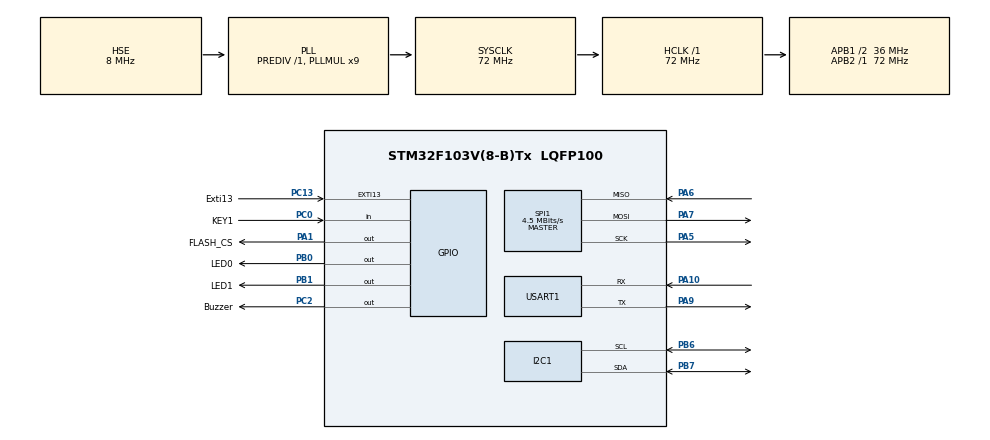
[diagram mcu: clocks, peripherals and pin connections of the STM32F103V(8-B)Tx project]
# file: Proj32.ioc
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Mcu.Family=STM32F1
Mcu.Name=STM32F103V(8-B)Tx
Mcu.Package=LQFP100
NVIC.EXTI15_10_IRQn=true\:0\:0\:false\:false\:true\:true\:true
NVIC.PriorityGroup=NVIC_PRIORITYGROUP_4
NVIC.USART1_IRQn=true\:0\:0\:false\:false\:true\:true\:true
OSC_IN.Mode=HSE-External-Oscillator
OSC_IN.Signal=RCC_OSC_IN
OSC_OUT.Mode=HSE-External-Oscillator
OSC_OUT.Signal=RCC_OSC_OUT
PA1.GPIO_Label=FLASH_CS
PA1.GPIO_ModeDefaultOutputPP=GPIO_MODE_OUTPUT_PP
PA1.GPIO_PuPd=GPIO_PULLUP
PA1.GPIO_Speed=GPIO_SPEED_FREQ_HIGH
PA1.PinState=GPIO_PIN_SET
PA1.Signal=GPIO_Output
PA10.Mode=Asynchronous
PA10.Signal=USART1_RX
PA13.Mode=Serial_Wire
PA13.Signal=SYS_JTMS-SWDIO
PA14.Mode=Serial_Wire
PA14.Signal=SYS_JTCK-SWCLK
PA5.Mode=Full_Duplex_Master
PA5.Signal=SPI1_SCK
PA6.Mode=Full_Duplex_Master
PA6.Signal=SPI1_MISO
PA7.Mode=Full_Duplex_Master
PA7.Signal=SPI1_MOSI
PA9.Mode=Asynchronous
PA9.Signal=USART1_TX
PB0.GPIO_Label=LED0
PB0.GPIO_ModeDefaultOutputPP=GPIO_MODE_OUTPUT_PP
PB0.GPIO_PuPd=GPIO_PULLUP
PB0.GPIO_Speed=GPIO_SPEED_FREQ_HIGH
PB0.PinState=GPIO_PIN_SET
PB0.Signal=GPIO_Output
PB1.GPIO_Label=LED1
PB1.GPIO_PuPd=GPIO_PULLDOWN
PB1.GPIO_Speed=GPIO_SPEED_FREQ_HIGH
PB1.PinState=GPIO_PIN_SET
PB1.Signal=GPIO_Output
PB6.Mode=I2C
PB6.Signal=I2C1_SCL
PB7.Mode=I2C
PB7.Signal=I2C1_SDA
PC0.GPIO_Label=KEY1
PC0.GPIO_PuPd=GPIO_PULLDOWN
PC0.Signal=GPIO_Input
PC13-TAMPER-RTC.GPIO_Label=Exti13
PC13-TAMPER-RTC.GPIO_ModeDefaultEXTI=GPIO_MODE_IT_RISING
PC13-TAMPER-RTC.GPIO_PuPd=GPIO_PULLDOWN
PC13-TAMPER-RTC.Signal=GPXTI13
PC2.GPIO_Label=Buzzer
PC2.GPIO_PuPd=GPIO_PULLDOWN
PC2.GPIO_Speed=GPIO_SPEED_FREQ_HIGH
PC2.PinState=GPIO_PIN_SET
PC2.Signal=GPIO_Output
ProjectManager.HeapSize=0x200
ProjectManager.StackSize=0x400
ProjectManager.TargetToolchain=STM32CubeIDE
RCC.AHBFreq_Value=72000000
RCC.APB1CLKDivider=RCC_HCLK_DIV2
RCC.APB1Freq_Value=36000000
RCC.APB1TimFreq_Value=72000000
RCC.APB2Freq_Value=72000000
RCC.APB2TimFreq_Value=72000000
RCC.HCLKFreq_Value=72000000
RCC.PLLMUL=RCC_PLL_MUL9
RCC.PLLSourceVirtual=RCC_PLLSOURCE_HSE
RCC.SYSCLKFreq_VALUE=72000000
RCC.SYSCLKSource=RCC_SYSCLKSOURCE_PLLCLK
RCC.USBFreq_Value=72000000
SPI1.BaudRatePrescaler=SPI_BAUDRATEPRESCALER_16
SPI1.CalculateBaudRate=4.5 MBits/s
SPI1.Direction=SPI_DIRECTION_2LINES
SPI1.Mode=SPI_MODE_MASTER
SPI1.VirtualType=VM_MASTER
USART1.VirtualMode=VM_ASYNC
board=custom

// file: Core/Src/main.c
/* USER CODE BEGIN Header */
/**
  ******************************************************************************
  * @file           : main.c
  * @brief          : Main program body
  ******************************************************************************
  * @attention
  *
  * Copyright (c) 2021 STMicroelectronics.
  * All rights reserved.
  *
  * This software is licensed under terms that can be found in the LICENSE file
  * in the root directory of this software component.
  * If no LICENSE file comes with this software, it is provided AS-IS.
  *
  ******************************************************************************
  */
/* USER CODE END Header */
#include "main.h"

/* USER CODE BEGIN Includes */
#include "stdio.h"
#include "bsp_spi_flash.h"
/* USER CODE END Includes */

/* USER CODE BEGIN PTD */
uint8_t rx_buff[100];  //接收缓存
uint8_t rx_done = 0; //接收完成标志
uint8_t rx_cnt = 0;//接收数据长度
//IIC全局变量
#define ADDR_WR_AT24CXX 0xA0 //写器件地址
#define ADDR_RD_AT24CXX 0xA1 //读器件地址
#define BuffSize 256
uint8_t Wr_buff[BuffSize],Rd_buff[BuffSize];//读写数据buff
/* USER CODE END PTD */

/* USER CODE BEGIN PD */
void EEPROM_IIC_Test(void);
void SPI_FLASH_Test(void);
/* USER CODE END PD */

I2C_HandleTypeDef hi2c1;

extern SPI_HandleTypeDef hspi1;

UART_HandleTypeDef huart1;

void SystemClock_Config(void);
static void MX_GPIO_Init(void);
static void MX_USART1_UART_Init(void);
static void MX_I2C1_Init(void);
static void MX_SPI1_Init(void);

int main(void)
{

  /* MCU Configuration--------------------------------------------------------*/

  /* Reset of all peripherals, Initializes the Flash interface and the Systick. */
  HAL_Init();

  /* Configure the system clock */
  SystemClock_Config();

  /* Initialize all configured peripherals */
  MX_GPIO_Init();
  MX_USART1_UART_Init();
  MX_I2C1_Init();
  MX_SPI1_Init();
  /* USER CODE BEGIN 2 */
  //EEPROM测试
  //EEPROM_IIC_Test();
  SPI_FLASH_Test();
  /* USER CODE END 2 */

  /* Infinite loop */
  /* USER CODE BEGIN WHILE */
  while (1)
  {
      if(rx_done == 1)//判读是否接收完成
      {
          rx_done = 0;//清除接收标志
          //数据处理，打印接收长度、接收的数据
          printf("length of rx data: %d!\r\n",rx_cnt);
          for(int i = 0;i<rx_cnt;i++) printf("%c",rx_buff[i]);
          printf("\r\n");

          rx_cnt =0;//清除接收长度
      }
    /* USER CODE END WHILE */

  }
}

void SystemClock_Config(void)
{
  RCC_OscInitTypeDef RCC_OscInitStruct = {0};
  RCC_ClkInitTypeDef RCC_ClkInitStruct = {0};

  /** Initializes the RCC Oscillators according to the specified parameters
  * in the RCC_OscInitTypeDef structure.
  */
  RCC_OscInitStruct.OscillatorType = RCC_OSCILLATORTYPE_HSE;
  RCC_OscInitStruct.HSEState = RCC_HSE_ON;
  RCC_OscInitStruct.HSEPredivValue = RCC_HSE_PREDIV_DIV1;
  RCC_OscInitStruct.HSIState = RCC_HSI_ON;
  RCC_OscInitStruct.PLL.PLLState = RCC_PLL_ON;
  RCC_OscInitStruct.PLL.PLLSource = RCC_PLLSOURCE_HSE;
  RCC_OscInitStruct.PLL.PLLMUL = RCC_PLL_MUL9;
  if (HAL_RCC_OscConfig(&RCC_OscInitStruct) != HAL_OK)
  {
    Error_Handler();
  }
  /** Initializes the CPU, AHB and APB buses clocks
  */
  RCC_ClkInitStruct.ClockType = RCC_CLOCKTYPE_HCLK|RCC_CLOCKTYPE_SYSCLK
                              |RCC_CLOCKTYPE_PCLK1|RCC_CLOCKTYPE_PCLK2;
  RCC_ClkInitStruct.SYSCLKSource = RCC_SYSCLKSOURCE_PLLCLK;
  RCC_ClkInitStruct.AHBCLKDivider = RCC_SYSCLK_DIV1;
  RCC_ClkInitStruct.APB1CLKDivider = RCC_HCLK_DIV2;
  RCC_ClkInitStruct.APB2CLKDivider = RCC_HCLK_DIV1;

  if (HAL_RCC_ClockConfig(&RCC_ClkInitStruct, FLASH_LATENCY_2) != HAL_OK)
  {
    Error_Handler();
  }
}

static void MX_I2C1_Init(void)
{

  hi2c1.Instance = I2C1;
  hi2c1.Init.ClockSpeed = 100000;
  hi2c1.Init.DutyCycle = I2C_DUTYCYCLE_2;
  hi2c1.Init.OwnAddress1 = 0;
  hi2c1.Init.AddressingMode = I2C_ADDRESSINGMODE_7BIT;
  hi2c1.Init.DualAddressMode = I2C_DUALADDRESS_DISABLE;
  hi2c1.Init.OwnAddress2 = 0;
  hi2c1.Init.GeneralCallMode = I2C_GENERALCALL_DISABLE;
  hi2c1.Init.NoStretchMode = I2C_NOSTRETCH_DISABLE;
  if (HAL_I2C_Init(&hi2c1) != HAL_OK)
  {
    Error_Handler();
  }

}

static void MX_SPI1_Init(void)
{

  /* SPI1 parameter configuration*/
  hspi1.Instance = SPI1;
  hspi1.Init.Mode = SPI_MODE_MASTER;
  hspi1.Init.Direction = SPI_DIRECTION_2LINES;
  hspi1.Init.DataSize = SPI_DATASIZE_8BIT;
  hspi1.Init.CLKPolarity = SPI_POLARITY_LOW;
  hspi1.Init.CLKPhase = SPI_PHASE_1EDGE;
  hspi1.Init.NSS = SPI_NSS_SOFT;
  hspi1.Init.BaudRatePrescaler = SPI_BAUDRATEPRESCALER_16;
  hspi1.Init.FirstBit = SPI_FIRSTBIT_MSB;
  hspi1.Init.TIMode = SPI_TIMODE_DISABLE;
  hspi1.Init.CRCCalculation = SPI_CRCCALCULATION_DISABLE;
  hspi1.Init.CRCPolynomial = 10;
  if (HAL_SPI_Init(&hspi1) != HAL_OK)
  {
    Error_Handler();
  }

}

static void MX_USART1_UART_Init(void)
{

  huart1.Instance = USART1;
  huart1.Init.BaudRate = 115200;
  huart1.Init.WordLength = UART_WORDLENGTH_8B;
  huart1.Init.StopBits = UART_STOPBITS_1;
  huart1.Init.Parity = UART_PARITY_NONE;
  huart1.Init.Mode = UART_MODE_TX_RX;
  huart1.Init.HwFlowCtl = UART_HWCONTROL_NONE;
  huart1.Init.OverSampling = UART_OVERSAMPLING_16;
  if (HAL_UART_Init(&huart1) != HAL_OK)
  {
    Error_Handler();
  }
  /* USER CODE BEGIN USART1_Init 2 */
  //开启接收中断，空闲中断
  __HAL_UART_ENABLE_IT(&huart1,UART_IT_IDLE|UART_IT_RXNE);
  /* USER CODE END USART1_Init 2 */

}

static void MX_GPIO_Init(void)
{
  GPIO_InitTypeDef GPIO_InitStruct = {0};

  /* GPIO Ports Clock Enable */
  __HAL_RCC_GPIOC_CLK_ENABLE();
  __HAL_RCC_GPIOA_CLK_ENABLE();
  __HAL_RCC_GPIOB_CLK_ENABLE();

  /*Configure GPIO pin Output Level */
  HAL_GPIO_WritePin(Buzzer_GPIO_Port, Buzzer_Pin, GPIO_PIN_SET);

  /*Configure GPIO pin Output Level */
  HAL_GPIO_WritePin(FLASH_CS_GPIO_Port, FLASH_CS_Pin, GPIO_PIN_SET);

  /*Configure GPIO pin Output Level */
  HAL_GPIO_WritePin(GPIOB, LED0_Pin|LED1_Pin, GPIO_PIN_SET);

  /*Configure GPIO pin : Exti13_Pin */
  GPIO_InitStruct.Pin = Exti13_Pin;
  GPIO_InitStruct.Mode = GPIO_MODE_IT_RISING;
  GPIO_InitStruct.Pull = GPIO_PULLDOWN;
  HAL_GPIO_Init(Exti13_GPIO_Port, &GPIO_InitStruct);

  /*Configure GPIO pin : KEY1_Pin */
  GPIO_InitStruct.Pin = KEY1_Pin;
  GPIO_InitStruct.Mode = GPIO_MODE_INPUT;
  GPIO_InitStruct.Pull = GPIO_PULLDOWN;
  HAL_GPIO_Init(KEY1_GPIO_Port, &GPIO_InitStruct);

  /*Configure GPIO pin : Buzzer_Pin */
  GPIO_InitStruct.Pin = Buzzer_Pin;
  GPIO_InitStruct.Mode = GPIO_MODE_OUTPUT_PP;
  GPIO_InitStruct.Pull = GPIO_PULLDOWN;
  GPIO_InitStruct.Speed = GPIO_SPEED_FREQ_HIGH;
  HAL_GPIO_Init(Buzzer_GPIO_Port, &GPIO_InitStruct);

  /*Configure GPIO pin : FLASH_CS_Pin */
  GPIO_InitStruct.Pin = FLASH_CS_Pin;
  GPIO_InitStruct.Mode = GPIO_MODE_OUTPUT_PP;
  GPIO_InitStruct.Pull = GPIO_PULLUP;
  GPIO_InitStruct.Speed = GPIO_SPEED_FREQ_HIGH;
  HAL_GPIO_Init(FLASH_CS_GPIO_Port, &GPIO_InitStruct);

  /*Configure GPIO pin : LED0_Pin */
  GPIO_InitStruct.Pin = LED0_Pin;
  GPIO_InitStruct.Mode = GPIO_MODE_OUTPUT_PP;
  GPIO_InitStruct.Pull = GPIO_PULLUP;
  GPIO_InitStruct.Speed = GPIO_SPEED_FREQ_HIGH;
  HAL_GPIO_Init(LED0_GPIO_Port, &GPIO_InitStruct);

  /*Configure GPIO pin : LED1_Pin */
  GPIO_InitStruct.Pin = LED1_Pin;
  GPIO_InitStruct.Mode = GPIO_MODE_OUTPUT_PP;
  GPIO_InitStruct.Pull = GPIO_PULLDOWN;
  GPIO_InitStruct.Speed = GPIO_SPEED_FREQ_HIGH;
  HAL_GPIO_Init(LED1_GPIO_Port, &GPIO_InitStruct);

  /* EXTI interrupt init*/
  HAL_NVIC_SetPriority(EXTI15_10_IRQn, 0, 0);
  HAL_NVIC_EnableIRQ(EXTI15_10_IRQn);

}

/* USER CODE BEGIN 4 */
//SPI FLASH测试
#define  FLASHBUFFSIZE 64
void SPI_FLASH_Test(void)
{
    uint16_t FLASH_ID;
    uint8_t Flash_Wr_Buff[FLASHBUFFSIZE],Flash_Rd_Buff[FLASHBUFFSIZE];
    printf("SPI总线通信实验，读写8M外部FLASH W25Q64!\r\n",FLASH_ID);
    FLASH_ID = W25QXX_ReadID();//读取W25Q64器件ID
    HAL_Delay(100);
    printf("the FLASH Device ID is 0x%X!\r\n",FLASH_ID);
    //W25Q64 = 8MByte,地址范围：0x000000-0x7FFFFF
    //Sector：每4KB为一个Sector,8M/4K=2048个
    //Block：每64KB为一个Block,8M/64K=128个，每个Block包括16个Sector
    SPI_FLASH_SectorErase(0x00);//擦除第一个Sector
    for (int i = 0; i < FLASHBUFFSIZE; ++i) Flash_Wr_Buff[i] = i;
    SPI_FLASH_BufferWrite(Flash_Wr_Buff,0x00,FLASHBUFFSIZE);
    SPI_FLASH_BufferRead(Flash_Rd_Buff,0x00,FLASHBUFFSIZE);
    printf("Read data form W25Q64: \r\n");
    for(uint16_t i=0;i<FLASHBUFFSIZE;i++)
    {
        printf("0x%02x ",Flash_Rd_Buff[i]);
    }
    printf("\r\n");
}
//EEPROM测试
void EEPROM_IIC_Test(void)
{
    HAL_StatusTypeDef error;
    uint8_t length = 8 ;
    for(uint16_t i = 0;i<256;i++) Wr_buff[i] = i;
    //AT24Cxx地址00开始写入8Byte数据
    error = HAL_I2C_Mem_Write(&hi2c1,ADDR_WR_AT24CXX,0x00,I2C_MEMADD_SIZE_16BIT,Wr_buff,length,1000);
    if(error == HAL_OK) printf("eeprom write done!\r\n");
    else                printf("eeprom write fail!\r\n");
    HAL_Delay(1000);
    //从地址0x00开始读8Byte数据，并打印。
    error = HAL_I2C_Mem_Read(&hi2c1,ADDR_RD_AT24CXX,0x00,I2C_MEMADD_SIZE_16BIT,Rd_buff,length,1000);
    if(error == HAL_OK)
    {
        printf("eeprom read done!\r\n");
        for(uint16_t i=0;i<length;i++)
        {
            printf("0x%02x ",Rd_buff[i]);
        }
        printf("\r\n");
    }
    else  printf("eeprom write fail!\r\n");
}

//重写GPIO中断回调函数
void HAL_GPIO_EXTI_Callback(uint16_t GPIO_Pin)
{
    //翻转LED0
    HAL_GPIO_TogglePin(LED0_GPIO_Port,LED0_Pin);
    //打印中断处理信息
    printf("ExTi13 interrput!\r\n");
}

#ifdef __GNUC__
#define PUTCHAR_PROTOTYPE int __io_putchar(int ch)
#else
#define PUTCHAR_PROTOTYPE int fputc(int ch. FILE *f)
#endif /* __GNUC__ */

//重定向printf函数
PUTCHAR_PROTOTYPE
{
    HAL_UART_Transmit(&huart1,(uint8_t *)&ch,1,0xFFFF);//输出指向串口USART1
    return ch;
}
/* USER CODE END 4 */

void Error_Handler(void)
{
  __disable_irq();
  while (1)
  {
  }
}
